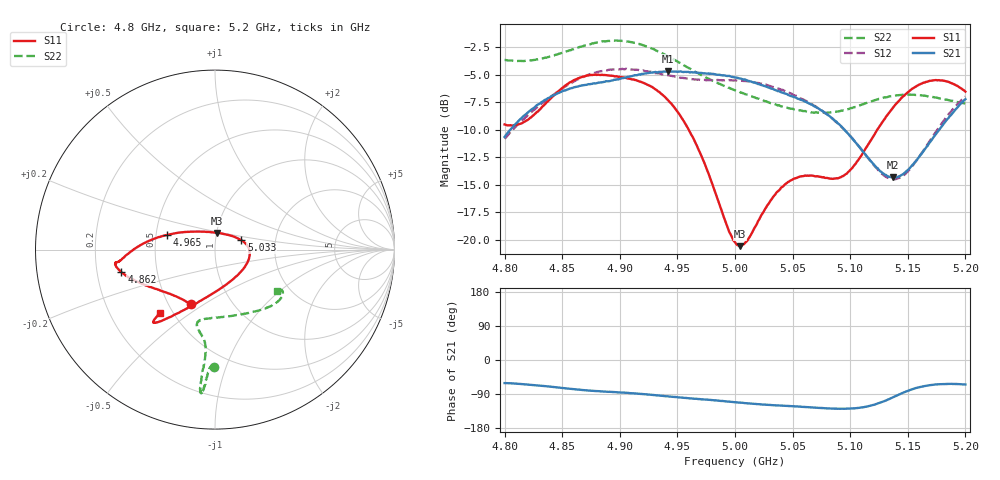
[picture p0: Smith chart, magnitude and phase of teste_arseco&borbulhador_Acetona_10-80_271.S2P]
! Network Analyzer HP8722D
! Hewlett-Packard
! Data name: Linha & Wilkinson
! Saver's name: Rodrigo Anjos
! Comments: Teste da utilização de aquisição
! continua pelo VNA HP8722D
! Time and date: 17/4/2025 16:37
!  Frequency  S11  S21  S12  S22
# HZ  S  MA R 50
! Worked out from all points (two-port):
!   401 points, 4.8 GHz to 5.2 GHz, reference 50 ohm
!   highest |S21| = -4.70 dB at 4.942 GHz (marker M1); lowest = -14.3 dB at 5.137 GHz (marker M2)
!   |S21| within 3 dB of the highest: 4.829 GHz to 5.066 GHz (236.5 MHz wide, 4.78 % of centre); 5.19539 GHz to end of sweep
!   lowest |S11| = -20.6 dB at 5.004 GHz (marker M3), VSWR 1.21, Z = 50.1 + j9.41 ohm
!   |S11| at or under -10 dB: 4.96 GHz to 5.124 GHz (163.7 MHz wide, 3.25 % of centre)
!   |S22| runs from -8.5 to -1.9 dB; largest |S21 - S12| = 0.88
!   S11 on the Smith chart (normalised r, x): 4.8 GHz: 0.64, -0.44; 4.862 GHz: 0.31, -0.11; 4.965 GHz: 0.57, +0.10; 5.033 GHz: 1.34, +0.14; 5.2 GHz: 0.42, -0.39
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4.8e9  0.3342 -113.9  0.2934 -61.0  0.2878 -175.2  0.6562 -90.3
4.819e9  0.3486 -133.9  0.3743 -64.4  0.3627 -174.0  0.6505 -91.8
4.862e9  0.5363 -166.4  0.496 -77.6  0.5303 -177.3  0.743 -94.2
4.867e9  0.5484 -168.3  0.5031 -79.1  0.5453 -178.2  0.7556 -94.3
4.899e9  0.5496 -172.7  0.5359 -85.6  0.5943 175.1  0.8015 -95.7
4.934e9  0.4706 -178.6  0.5795 -93.8  0.5705 171.5  0.7144 -96.0
4.942e9  0.4301 177.8  0.5822 -96.1  0.5598 171.8  0.6808 -95.8
4.965e9  0.2806 163.1  0.5768 -102.4  0.5347 173.6  0.5808 -95.3
5e9  0.09762 98.7  0.5467 -111.5  0.5304 175.9  0.4776 -99.4
5.004e9  0.09362 84.1  0.5402 -112.5  0.529 175.9  0.4707 -100.3
5.012e9  0.1018 57.5  0.527 -114.6  0.5237 175.7  0.4525 -101.8
5.033e9  0.1564 19.5  0.4842 -119.3  0.4943 174.5  0.4155 -103.6
5.048e9  0.1858 4.2  0.451 -121.6  0.4637 174.0  0.3941 -100.2
5.067e9  0.1958 -15.9  0.4105 -125.2  0.413 173.4  0.3788 -90.2
5.085e9  0.1893 -44.1  0.3539 -128.1  0.3541 173.5  0.3806 -76.6
5.097e9  0.1998 -68.5  0.3078 -128.5  0.3088 174.7  0.3909 -66.9
5.134e9  0.3793 -117.3  0.1933 -102.7  0.1898 -155.7  0.448 -43.1
5.137e9  0.397 -119.1  0.1921 -98.7  0.1885 -151.0  0.451 -41.7
5.15e9  0.4675 -124.9  0.2073 -81.5  0.2042 -131.2  0.4562 -36.9
5.168e9  0.5252 -129.1  0.272 -67.1  0.2757 -113.3  0.4473 -32.5
5.184e9  0.5232 -130.7  0.3519 -63.2  0.3636 -107.3  0.433 -31.2
5.2e9  0.471 -131.0  0.4356 -64.7  0.4478 -106.8  0.4156 -33.6
